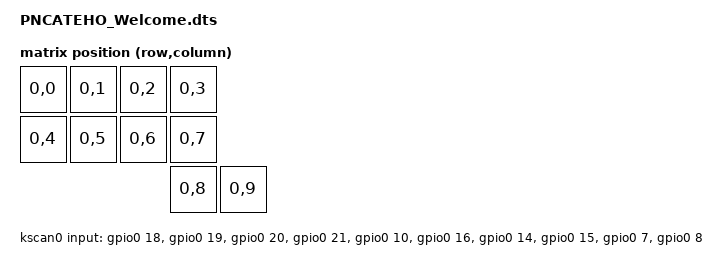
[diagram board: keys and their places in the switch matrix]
// Copyright (c) 2023 The ZMK Contributors
// SPDX-License-Identifier: MIT

/dts-v1/;

#include <raspberrypi/rpi_pico/rp2040.dtsi>
#include <arm/raspberrypi/rp2040-boot-mode-retention.dtsi>
#include <dt-bindings/pinctrl/rpi-pico-rp2040-pinctrl.h>

#include <dt-bindings/zmk/matrix_transform.h>
#include <dt-bindings/led/led.h>

/ {
    chosen {
        zephyr,sram = &sram0;
        zephyr,flash = &flash0;
        zephyr,flash-controller = &ssi;
        zephyr,code-partition = &code_partition;
        zmk,kscan = &kscan0;
        zmk,matrix_transform = &default_transform;
    };

    default_transform: keymap_transform_0 {
        compatible = "zmk,matrix-transform";
        columns = <8>;
        rows = <3>;
        map = <
        RC(0,0) RC(0,1) RC(0,2) RC(0,3)
        RC(0,4) RC(0,5) RC(0,6) RC(0,7)
                                RC(0,8) RC(0,9)
            >;
    };

    kscan0: kscan {
        compatible = "zmk,kscan-gpio-direct";

        input-gpios
            = <&gpio0 18 (GPIO_ACTIVE_LOW | GPIO_PULL_UP)>
            , <&gpio0 19 (GPIO_ACTIVE_LOW | GPIO_PULL_UP)>
            , <&gpio0 20 (GPIO_ACTIVE_LOW | GPIO_PULL_UP)>
            , <&gpio0 21 (GPIO_ACTIVE_LOW | GPIO_PULL_UP)>
            , <&gpio0 10 (GPIO_ACTIVE_LOW | GPIO_PULL_UP)>
            , <&gpio0 16 (GPIO_ACTIVE_LOW | GPIO_PULL_UP)>
            , <&gpio0 14 (GPIO_ACTIVE_LOW | GPIO_PULL_UP)>
            , <&gpio0 15 (GPIO_ACTIVE_LOW | GPIO_PULL_UP)>
            , <&gpio0 7  (GPIO_ACTIVE_LOW | GPIO_PULL_UP)>
            , <&gpio0 8  (GPIO_ACTIVE_LOW | GPIO_PULL_UP)>
            ;
    };
};

&flash0 {
    reg = <0x10000000 DT_SIZE_M(16)>;

    partitions {
        compatible = "fixed-partitions";
        #address-cells = <1>;
        #size-cells = <1>;

        /* Reserved memory for the second stage bootloader */
        second_stage_bootloader: partition@0 {
            reg = <0x00000000 0x100>;
            read-only;
        };

        /*
         * Usable flash. Starts at 0x100, after the bootloader. The partition
         * size is 16MB minus the 0x100 bytes taken by the bootloader.
         */
        code_partition: partition@100 {
            reg = <0x100 (DT_SIZE_M(16) - 0x100)>;
            read-only;
        };
    };
};

&timer {
  status = "okay";
};

&rtc {
    clocks = <&clocks RPI_PICO_CLKID_CLK_RTC>;
    status = "okay";
};

zephyr_udc0: &usbd {
  status = "okay";
};

&vreg {
    regulator-always-on;
    regulator-allowed-modes = <REGULATOR_RPI_PICO_MODE_NORMAL>;
};

&gpio0 {
    status = "okay";
};

// rgb,SPI
&pinctrl {
    spi0_default: spi0_default {
        group1 {
	    pinmux = <SPI0_TX_P19>;
        };
    };
};

&spi0 {
        compatible = "raspberrypi,pico-spi";
        status = "okay";

        pinctrl-0 = <&spi0_default>;
        pinctrl-names = "default";


        led_strip: ws2812@0 {
                compatible = "worldsemi,ws2812-spi";
                label = "WS2812";

                /* SPI */
                reg = <0>; /* ignored, but necessary for SPI bindings */
                spi-max-frequency = <4000000>;

                /* ws2812 */
                chain-length = <10>; /* There are per-key RGB */
                spi-one-frame = <0x70>;
                spi-zero-frame = <0x40>;
                color-mapping = <LED_COLOR_ID_GREEN LED_COLOR_ID_RED LED_COLOR_ID_BLUE>;
        };
};

/ {
        chosen {
                zmk,underglow = &led_strip;
        };
};

